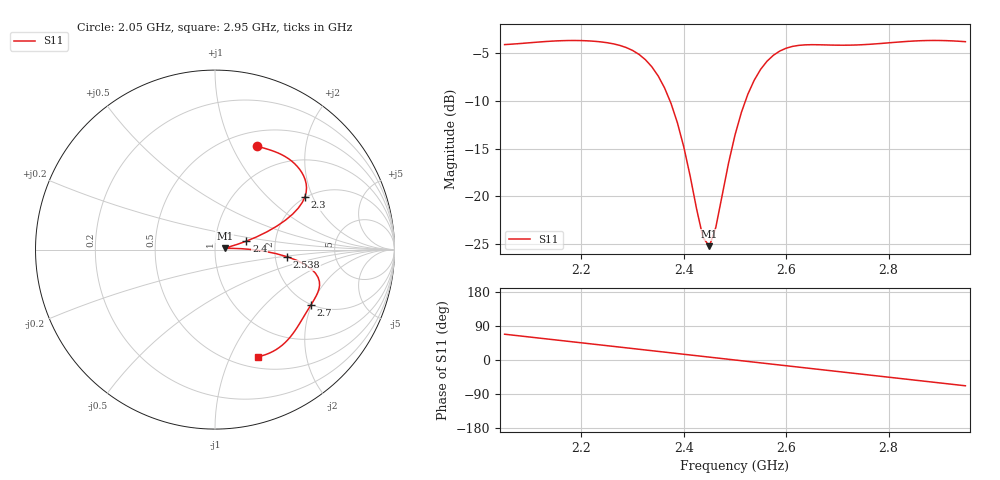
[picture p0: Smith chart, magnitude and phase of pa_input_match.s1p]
! Generated RF sample for VNA Touchstone diagnostics
! Source: local sample generator
# GHZ S RI R 50
! freq S11
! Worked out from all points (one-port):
!   73 points, 2.05 GHz to 2.95 GHz, reference 50 ohm
!   lowest |S11| = -25.2 dB at 2.45 GHz (marker M1), VSWR 1.12, Z = 55.8 + j0.809 ohm
!   |S11| at or under -10 dB: 2.373 GHz to 2.521 GHz (147.7 MHz wide, 6.04 % of centre)
!   S11 on the Smith chart (normalised r, x): 2.05 GHz: 0.67, +1.25; 2.3 GHz: 1.99, +1.74; 2.4 GHz: 1.42, +0.14; 2.538 GHz: 2.33, -0.22; 2.7 GHz: 1.97, -1.98; 2.95 GHz: 0.63, -1.28
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2.05  0.2323 0.5762
2.1625  0.4096 0.5064
2.225  0.4838 0.4292
2.275  0.51 0.3442
2.3  0.5003 0.2916
2.325  0.4639 0.2309
2.35  0.393 0.1642
2.375  0.29 0.0993
2.3875  0.232 0.071
2.4  0.175 0.0473
2.425  0.0843 0.0169
2.4375  0.0601 0.01
2.45  0.0545 0.00724
2.4625  0.0686 0.00681
2.4875  0.1498 0.00494
2.5  0.2094 0
2.5125  0.2748 -0.00907
2.525  0.3408 -0.0225
2.5375  0.4027 -0.04
2.55  0.4571 -0.0607
2.575  0.5358 -0.1075
2.6125  0.5815 -0.1779
2.65  0.5726 -0.2393
2.7  0.533 -0.3107
2.725  0.5116 -0.3453
2.8375  0.4062 -0.5021
2.9  0.3216 -0.5679
2.95  0.2406 -0.5967
